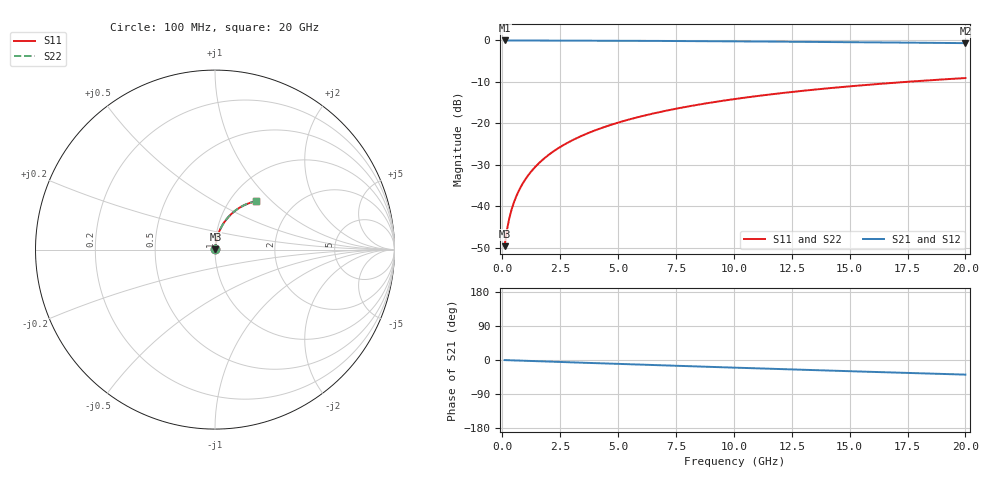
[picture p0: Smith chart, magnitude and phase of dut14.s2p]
! Touchstone file exported from HFSS 2026.1.0
!  File:  C:/ffzhzh/LocalFiles/Ansys_Project_Files/temp_val_TMRDL_14_1782902922_13352.aedt
!  Generated:  06:49:56 PM Jul  1, 2026
!  Design:  TMRDL
!  Project:  temp_val_TMRDL_14_1782902922_13352
! Variables:
!  h_bsmrdl = 2um
!  h_ox = 20um
!  h_rdl = 5um
!  h_sub = 80um
!  h_tmrdl = 3.82um
!  h_tsv = 80um
!  h_via = 3um
!  l_bsmrdl = 300um
!  l_sub = 954.67um
!  l_tmrdl = 554.67um
!  m_sub = 200um
!  pitch = 50.44um
!  r_tsv = 6um
!  s_tmrdl = 10um
!  w_bsmrdl = 18um
!  w_sub = 500um
!  w_tmrdl = 23.21um
!  x_tsv_center1 = 566.275um
!  x_tsv_center2 = 884.275um
!  x_tsv_center3 = 1462.155um
!  x_tsv_center4 = 1780.155um
!  x_tsv_center5 = 2358.035um
!  x_tsv_center6 = 2676.035um
# GHz S MA R 50.000000
! Terminal data exported
! Port[1] = TM_RDL1_1_T1
! Port[2] = TM_RDL1_1_T2
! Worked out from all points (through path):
!   200 points, 100 MHz to 20 GHz, reference 50 ohm
!   highest |S21| = -0.02 dB at 100 MHz (marker M1); lowest = -0.7 dB at 20 GHz (marker M2)
!   group delay of S21, straight-line fit = 5.36 ps
!   lowest |S11| = -49.6 dB at 100 MHz (marker M3), VSWR 1.01, Z = 50.2 + j0.229 ohm
!   |S11| at or under -10 dB: start of sweep to 17.43 GHz
!   |S22| runs from -49.6 to -9.1 dB; largest |S21 - S12| = 2.3e-15
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0.1  0.003328 43.2  0.9976 -0.2  0.9976 -0.2  0.003328 43.2
! Gamma 0 0 0 0
! Port Impedance 50 0 50 0
0.2  0.005173 60.0  0.9974 -0.4  0.9974 -0.4  0.005173 60.0
0.3  0.007159 67.3  0.9973 -0.6  0.9973 -0.6  0.007158 67.3
0.4  0.009159 71.3  0.9972 -0.8  0.9972 -0.8  0.009158 71.3
0.5  0.01116 73.9  0.9971 -1.1  0.9971 -1.1  0.01116 73.9
0.6  0.01317 75.7  0.997 -1.3  0.997 -1.3  0.01317 75.7
0.8  0.01722 78.1  0.9968 -1.7  0.9968 -1.7  0.01722 78.1
1.1  0.02334 79.9  0.9966 -2.3  0.9966 -2.3  0.02334 79.9
1.5  0.03154 80.9  0.9963 -3.1  0.9963 -3.1  0.03153 80.9
1.8  0.03769 81.1  0.9959 -3.7  0.9959 -3.7  0.03769 81.1
2.1  0.04385 81.1  0.9956 -4.4  0.9956 -4.4  0.04385 81.1
2.7  0.05611 80.6  0.9947 -5.6  0.9947 -5.6  0.05611 80.6
3.5  0.07234 79.5  0.9933 -7.2  0.9933 -7.2  0.07234 79.5
4.2  0.08638 78.4  0.9918 -8.6  0.9918 -8.6  0.08638 78.4
5  0.1022 77.0  0.9898 -10.3  0.9898 -10.3  0.1022 77.0
5.9  0.1198 75.3  0.9874 -12.1  0.9874 -12.1  0.1198 75.3
6.8  0.1371 73.6  0.9846 -13.9  0.9846 -13.9  0.1371 73.7
8.3  0.1652 70.9  0.9796 -16.8  0.9796 -16.8  0.1652 70.9
10.1  0.1977 67.5  0.9728 -20.3  0.9728 -20.3  0.1977 67.5
13.4  0.254 61.5  0.9587 -26.6  0.9587 -26.6  0.254 61.5
16.7  0.3055 55.6  0.943 -32.7  0.943 -32.7  0.3055 55.6
20  0.3518 49.8  0.9264 -38.6  0.9264 -38.6  0.3518 49.9
